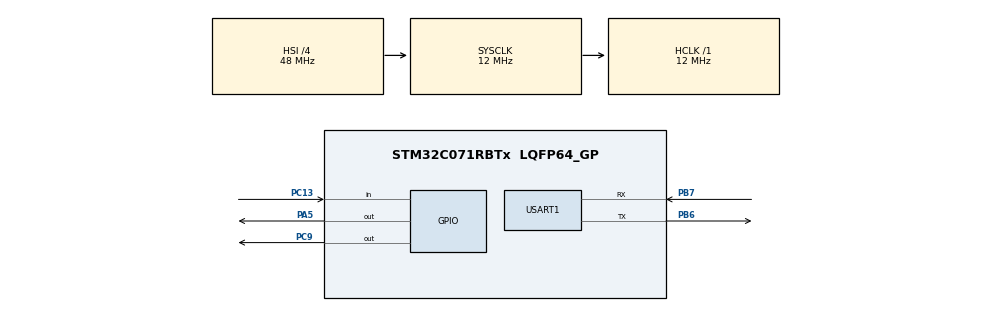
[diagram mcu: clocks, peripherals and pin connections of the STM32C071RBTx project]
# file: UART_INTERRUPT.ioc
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Mcu.Family=STM32C0
Mcu.Name=STM32C071RBTx
Mcu.Package=LQFP64_GP
NUCLEO-C071RB.BUTTON=1
NUCLEO-C071RB.LD1=true
NUCLEO-C071RB.LD2=true
NUCLEO-C071RB.VCP=true
NVIC.USART1_IRQn=true\:0\:0\:false\:false\:true\:true\:true\:true
PA2.Signal=USART2_TX
PA3.Signal=USART2_RX
PA5.Signal=GPIO_Output
PB6.Mode=Asynchronous
PB6.Signal=USART1_TX
PB7.Mode=Asynchronous
PB7.Signal=USART1_RX
PC13.Signal=GPIO_Input
PC9.Signal=GPIO_Output
PF0-OSC_IN(PF0).Mode=HSE-External-Oscillator
PF0-OSC_IN(PF0).Signal=RCC_OSC_IN
PF1-OSC_OUT(PF1).Mode=HSE-External-Oscillator
PF1-OSC_OUT(PF1).Signal=RCC_OSC_OUT
ProjectManager.HeapSize=0x200
ProjectManager.StackSize=0x400
ProjectManager.TargetToolchain=STM32CubeIDE
RCC.ADCFreq_Value=12000000
RCC.AHBFreq_Value=12000000
RCC.CortexFreq_Value=12000000
RCC.EXTERNAL_CLOCK_VALUE=12288000
RCC.HCLKFreq_Value=12000000
RCC.HSE_VALUE=8000000
RCC.HSI48_VALUE=48000000
RCC.HSI_VALUE=48000000
RCC.LSE_VALUE=32768
RCC.SYSCLKFreq_VALUE=12000000
USART1.VirtualMode-Asynchronous=VM_ASYNC
VP_NUCLEO-C071RB_VS_BSP_COMMON.Mode=COMMON
board=NUCLEO-C071RB

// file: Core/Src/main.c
/* USER CODE BEGIN Header */
/**
  ******************************************************************************
  * @file           : main.c
  * @brief          : Main program body
  ******************************************************************************
  * @attention
  *
  * Copyright (c) 2026 STMicroelectronics.
  * All rights reserved.
  *
  * This software is licensed under terms that can be found in the LICENSE file
  * in the root directory of this software component.
  * If no LICENSE file comes with this software, it is provided AS-IS.
  *
  ******************************************************************************
  */
/* USER CODE END Header */
#include "main.h"

/* USER CODE BEGIN Includes */
#include <string.h>
/* USER CODE END Includes */

COM_InitTypeDef BspCOMInit;

UART_HandleTypeDef huart1;

/* USER CODE BEGIN PV */
uint8_t rx_byte = 0;

volatile uint8_t latest_rx_byte = 0;
volatile uint16_t rx_count = 0;
volatile uint8_t rx_flag = 0;
volatile uint8_t uart_error_flag = 0;
volatile HAL_StatusTypeDef uart_status = HAL_OK;
/* USER CODE END PV */

void SystemClock_Config(void);
static void MX_GPIO_Init(void);
static void MX_USART1_UART_Init(void);

int main(void)
{

  /* MCU Configuration--------------------------------------------------------*/

  /* Reset of all peripherals, Initializes the Flash interface and the Systick. */
  HAL_Init();

  /* Configure the system clock */
  SystemClock_Config();

  /* Initialize all configured peripherals */
  MX_GPIO_Init();
  MX_USART1_UART_Init();
 /* USER CODE BEGIN 2 */
  /* Initialize leds */
  BSP_LED_Init(LED_GREEN);
  BSP_LED_Init(LED_BLUE);

 uart_status = HAL_UART_Receive_IT(&huart1, &rx_byte, 1);

 if (uart_status != HAL_OK)
 {
     Error_Handler();
 }
 /* USER CODE END 2 */

//  /* Initialize USER push-button, will be used to trigger an interrupt each time it's pressed.*/
//  BSP_PB_Init(BUTTON_USER, BUTTON_MODE_EXTI);

  // /* Initialize COM1 port (115200, 8 bits (7-bit data + 1 stop bit), no parity */
  // BspCOMInit.BaudRate   = 115200;
  // BspCOMInit.WordLength = COM_WORDLENGTH_8B;
  // BspCOMInit.StopBits   = COM_STOPBITS_1;
  // BspCOMInit.Parity     = COM_PARITY_NONE;
  // BspCOMInit.HwFlowCtl  = COM_HWCONTROL_NONE;
  // if (BSP_COM_Init(COM1, &BspCOMInit) != BSP_ERROR_NONE)
  // {
  //   Error_Handler();
  // }

  // /* Infinite loop */
  /* USER CODE BEGIN WHILE */
  while (1)
  {
      if (rx_flag == 1)
    {
        rx_flag = 0;
        BSP_LED_Toggle(LED_GREEN);
    }

    HAL_Delay(10);

    /* USER CODE END WHILE */

  }
}

void SystemClock_Config(void)
{
  RCC_OscInitTypeDef RCC_OscInitStruct = {0};
  RCC_ClkInitTypeDef RCC_ClkInitStruct = {0};

  __HAL_FLASH_SET_LATENCY(FLASH_LATENCY_0);

  /** Initializes the RCC Oscillators according to the specified parameters
  * in the RCC_OscInitTypeDef structure.
  */
  RCC_OscInitStruct.OscillatorType = RCC_OSCILLATORTYPE_HSI;
  RCC_OscInitStruct.HSIState = RCC_HSI_ON;
  RCC_OscInitStruct.HSIDiv = RCC_HSI_DIV4;
  RCC_OscInitStruct.HSICalibrationValue = RCC_HSICALIBRATION_DEFAULT;
  if (HAL_RCC_OscConfig(&RCC_OscInitStruct) != HAL_OK)
  {
    Error_Handler();
  }

  /** Initializes the CPU, AHB and APB buses clocks
  */
  RCC_ClkInitStruct.ClockType = RCC_CLOCKTYPE_HCLK|RCC_CLOCKTYPE_SYSCLK
                              |RCC_CLOCKTYPE_PCLK1;
  RCC_ClkInitStruct.SYSCLKSource = RCC_SYSCLKSOURCE_HSI;
  RCC_ClkInitStruct.SYSCLKDivider = RCC_SYSCLK_DIV1;
  RCC_ClkInitStruct.AHBCLKDivider = RCC_HCLK_DIV1;
  RCC_ClkInitStruct.APB1CLKDivider = RCC_APB1_DIV1;

  if (HAL_RCC_ClockConfig(&RCC_ClkInitStruct, FLASH_LATENCY_0) != HAL_OK)
  {
    Error_Handler();
  }
}

static void MX_USART1_UART_Init(void)
{

  huart1.Instance = USART1;
  huart1.Init.BaudRate = 115200;
  huart1.Init.WordLength = UART_WORDLENGTH_8B;
  huart1.Init.StopBits = UART_STOPBITS_1;
  huart1.Init.Parity = UART_PARITY_NONE;
  huart1.Init.Mode = UART_MODE_TX_RX;
  huart1.Init.HwFlowCtl = UART_HWCONTROL_NONE;
  huart1.Init.OverSampling = UART_OVERSAMPLING_16;
  huart1.Init.OneBitSampling = UART_ONE_BIT_SAMPLE_DISABLE;
  huart1.Init.ClockPrescaler = UART_PRESCALER_DIV1;
  huart1.AdvancedInit.AdvFeatureInit = UART_ADVFEATURE_NO_INIT;
  if (HAL_UART_Init(&huart1) != HAL_OK)
  {
    Error_Handler();
  }
  if (HAL_UARTEx_SetTxFifoThreshold(&huart1, UART_TXFIFO_THRESHOLD_1_8) != HAL_OK)
  {
    Error_Handler();
  }
  if (HAL_UARTEx_SetRxFifoThreshold(&huart1, UART_RXFIFO_THRESHOLD_1_8) != HAL_OK)
  {
    Error_Handler();
  }
  if (HAL_UARTEx_DisableFifoMode(&huart1) != HAL_OK)
  {
    Error_Handler();
  }

}

static void MX_GPIO_Init(void)
{

  /* GPIO Ports Clock Enable */
  __HAL_RCC_GPIOF_CLK_ENABLE();
  __HAL_RCC_GPIOB_CLK_ENABLE();

}

/* USER CODE BEGIN 4 */

void HAL_UART_RxCpltCallback(UART_HandleTypeDef *huart)
{
    if (huart->Instance == USART1)
    {
        latest_rx_byte = rx_byte;
        rx_count++;
        rx_flag = 1;

        /*
         * Restart interrupt receive for next byte.
         */
        HAL_UART_Receive_IT(&huart1, &rx_byte, 1);
    }
}

void HAL_UART_ErrorCallback(UART_HandleTypeDef *huart)
{
    if (huart->Instance == USART1)
    {
        uart_error_flag = 1;

        /*
         * Restart receive after error.
         */
        HAL_UART_Receive_IT(&huart1, &rx_byte, 1);
    }
}

/* USER CODE END 4 */

void Error_Handler(void)
{
  __disable_irq();
  while (1)
  {
  }
}
